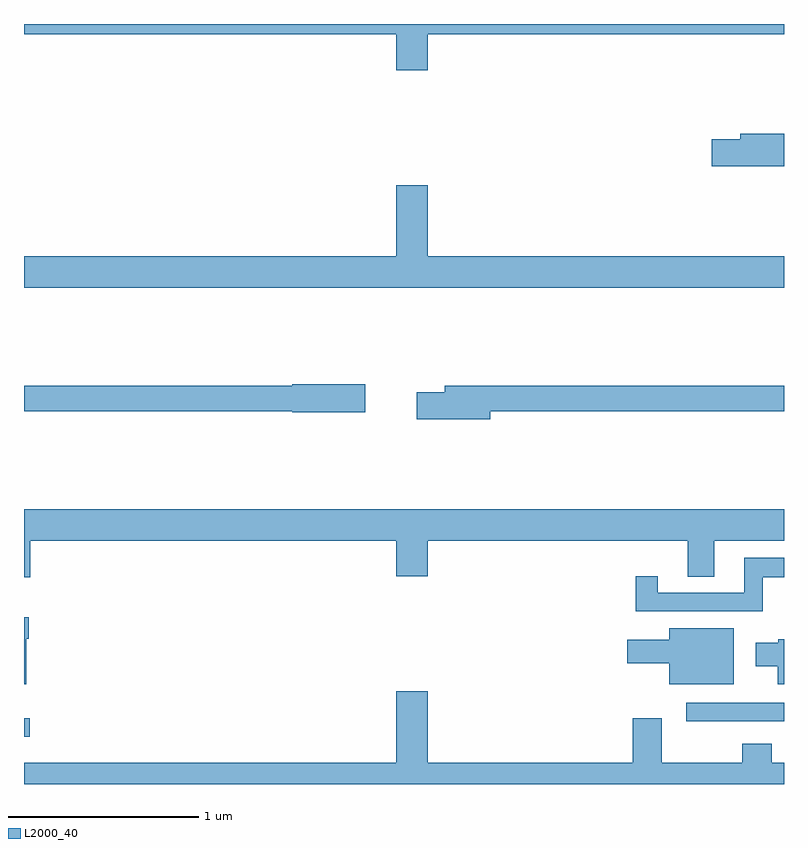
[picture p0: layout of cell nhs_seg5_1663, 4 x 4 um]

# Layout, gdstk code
import gdstk
lib = gdstk.Library(unit=1e-6, precision=1e-09)
def R(c, l, rs):  # rectangles x0, y0, x1, y1
    for r in rs: c.add(gdstk.rectangle(r[:2], r[2:], *l))
def P(c, l, *ps):  # polygons
    for p in ps: c.add(gdstk.Polygon(p, *l))
L2000_40 = (2000, 40)

nhs_seg5_1663 = lib.new_cell('nhs_seg5_1663')
R(nhs_seg5_1663, L2000_40, [(211,869.048,211.03,869.145), (214.485,869.13,215,869.226)])
P(nhs_seg5_1663, L2000_40, [(213.124,872.744),(215,872.744),(215,872.799),(211,872.799),(211,872.744),(212.96,872.744),(212.96,872.556),(213.124,872.556)],
  [(215,872.222),(214.769,872.222),(214.769,872.192),(214.62,872.192),(214.62,872.05),(215,872.05)],
  [(215,871.576),(213.124,871.576),(213.124,871.951),(212.96,871.951),(212.96,871.576),(211,871.576),(211,871.412),(215,871.412)],
  [(212.797,870.902),(212.412,870.902),(212.412,870.896),(211,870.896),(211,870.76),(212.412,870.76),(212.412,870.755),(212.797,870.755)],
  [(213.454,870.76),(215,870.76),(215,870.896),(213.215,870.896),(213.215,870.86),(213.066,870.86),(213.066,870.718),(213.454,870.718)],
  [(211.034,870.08),(212.96,870.08),(212.96,869.892),(213.124,869.892),(213.124,870.08),(214.493,870.08),(214.493,869.89),(214.633,869.89),(214.633,870.08),(215,870.08),(215,870.244),(211,870.244),(211,869.886),(211.034,869.886)],
  [(214.888,869.888),(215,869.888),(215,869.989),(214.79,869.989),(214.79,869.805),(214.336,869.805),(214.336,869.893),(214.219,869.893),(214.219,869.709),(214.888,869.709)],
  [(211.012,869.564),(211.025,869.564),(211.025,869.677),(211,869.677),(211,869.324),(211.012,869.324)],
  [(214.735,869.62),(214.397,869.62),(214.397,869.557),(214.176,869.557),(214.176,869.435),(214.397,869.435),(214.397,869.324),(214.735,869.324)],
  [(215,869.56),(214.971,869.56),(214.971,869.542),(214.85,869.542),(214.85,869.42),(214.967,869.42),(214.967,869.324),(215,869.324)],
  [(215,868.912),(214.935,868.912),(214.935,869.011),(214.78,869.011),(214.78,868.912),(214.357,868.912),(214.357,869.146),(214.205,869.146),(214.205,868.912),(213.124,868.912),(213.124,869.287),(212.96,869.287),(212.96,868.912),(211,868.912),(211,868.799),(215,868.799)])

lib.write_gds('nhs_seg5_1663.gds')
